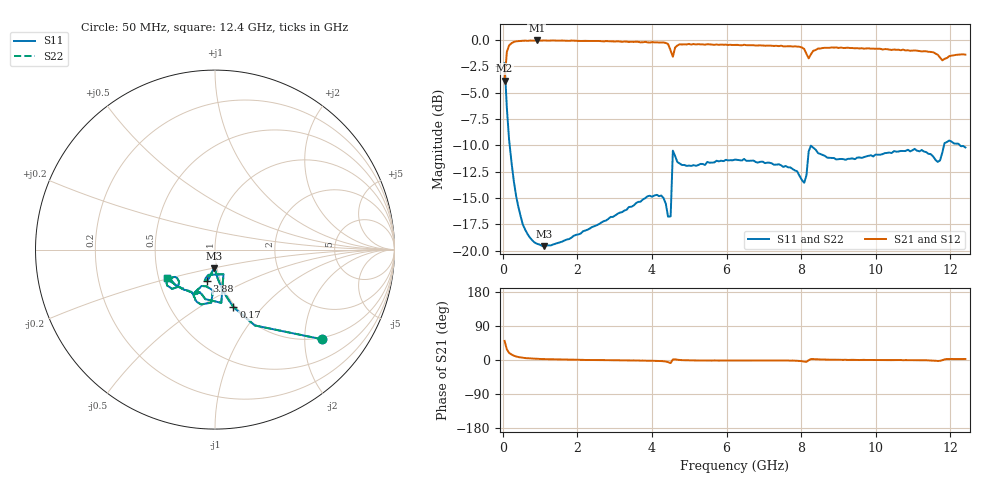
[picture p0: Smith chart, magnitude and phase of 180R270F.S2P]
!  American Technical Ceramics  Date:  3/13/98
!  One Norden Lane
!  Huntington Station,  NY.  11746-2102
!  Tel:  (516) 547-5700  Fax:  (516) 547-5748
!  Part Number  180r270f
!  Description: Porcelain, High Q, Low ESR
!  Application: Bypass, Coupling, Timing, Feedback
!  Tuning, Impedance Match, Blocking
# GHZ S DB R 50
! Freq  |S11|  S11 Ph  |S21|  S21 Ph  |S12|  S12 Ph  |S22|  S22 Ph
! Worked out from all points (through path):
!   201 points, 50 MHz to 12.4 GHz, reference 50 ohm
!   highest |S21| = -0.03 dB at 910 MHz (marker M1); lowest = -3.8 dB at 50 MHz (marker M2)
!   lowest |S11| = -19.6 dB at 1.1 GHz (marker M3), VSWR 1.23, Z = 48.5 - j10.3 ohm
!   |S11| at or under -10 dB: 186.1 MHz to 11.83 GHz (11.64 GHz wide, 194 % of centre); 12.26 GHz to end of sweep
!   |S22| runs from -19.6 to -2.2 dB; largest |S21 - S12| = 0
!   S11 on the Smith chart (normalised r, x): 50 MHz: 0.96, -2.42; 170 MHz: 0.98, -0.70; 3.88 GHz: 0.86, -0.31; 12.4 GHz: 0.56, -0.20
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0.05  -2.19 -40.0  -3.84 50.3  -3.84 50.3  -2.19 -40.0
0.11  -6.43 -62.4  -1.12 28.0  -1.12 28.0  -6.43 -62.4
0.17  -9.47 -72.3  -0.50 18.9  -0.50 18.9  -9.47 -72.3
0.36  -14.84 -82.8  -0.11 9.2  -0.11 9.2  -14.84 -82.8
0.54  -17.55 -87.0  -0.06 5.7  -0.06 5.7  -17.55 -87.0
0.91  -19.34 -91.0  -0.03 3.1  -0.03 3.1  -19.34 -91.0
1.1  -19.58 -92.5  -0.03 2.4  -0.03 2.4  -19.58 -92.5
2.15  -18.17 -96.6  -0.07 0.4  -0.07 0.4  -18.17 -96.6
3.88  -14.84 -104.1  -0.21 -2.0  -0.21 -2.0  -14.84 -104.1
4.19  -14.83 -108.0  -0.23 -2.6  -0.23 -2.6  -14.83 -108.0
4.43  -16.77 -104.3  -0.36 -5.6  -0.36 -5.6  -16.77 -104.3
4.5  -16.75 -71.1  -0.99 -8.1  -0.99 -8.1  -16.75 -71.1
4.56  -10.50 -83.3  -1.57 1.4  -1.57 1.4  -10.50 -83.3
4.74  -11.72 -106.7  -0.40 0.1  -0.40 0.1  -11.72 -106.7
6.23  -11.35 -113.4  -0.46 -1.3  -0.46 -1.3  -11.35 -113.4
8.08  -13.55 -103.7  -0.84 -4.4  -0.84 -4.4  -13.55 -103.7
8.2  -10.57 -94.1  -1.73 -0.6  -1.73 -0.6  -10.57 -94.1
8.32  -10.21 -109.0  -1.02 2.4  -1.02 2.4  -10.21 -109.0
10.36  -10.68 -135.9  -0.90 -0.2  -0.90 -0.2  -10.68 -135.9
11.54  -11.07 -146.6  -1.15 -1.8  -1.15 -1.8  -11.07 -146.6
11.78  -10.71 -134.7  -1.92 -0.5  -1.92 -0.5  -10.71 -134.7
12.4  -10.20 -149.0  -1.38 2.7  -1.38 2.7  -10.20 -149.0
